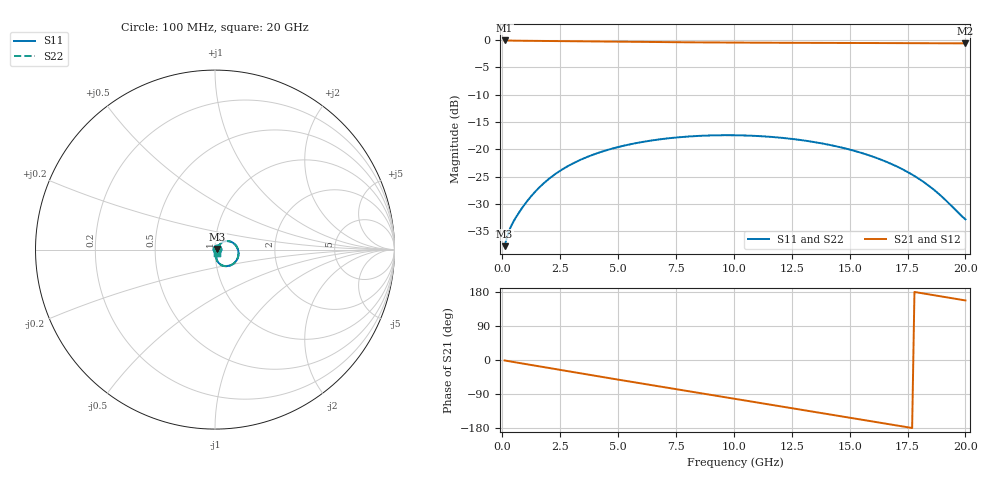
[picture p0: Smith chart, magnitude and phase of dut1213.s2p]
! Touchstone file exported from HFSS 2026.1.0
!  File:  C:/ffzhzh/LocalFiles/Ansys_Project_Files/temp_train_TSV_RDL_1213_1783320197_5512.aedt
!  Generated:  02:49:55 PM Jul  6, 2026
!  Design:  TSV_RDL
!  Project:  temp_train_TSV_RDL_1213_1783320197_5512
! Variables:
!  h_bsmrdl = 4.18um
!  h_ox = 20um
!  h_rdl = 5um
!  h_sub = 63.7um
!  h_tmrdl = 4.74um
!  h_tsv = 63.7um
!  h_via = 3um
!  l_bsmrdl = 279.05um
!  l_sub = 3391.77um
!  l_tmrdl = 506.9um
!  m_sub = 200um
!  pitch = 33.95um
!  r_tsv = 11.03um
!  s_tmrdl = 10um
!  w_bsmrdl = 13.69um
!  w_sub = 500um
!  w_tmrdl = 28.65um
!  x_tsv_center1 = 521.225um
!  x_tsv_center2 = 813.965um
!  x_tsv_center3 = 1349.515um
!  x_tsv_center4 = 1642.255um
!  x_tsv_center5 = 2177.805um
!  x_tsv_center6 = 2470.545um
# GHz S MA R 50.000000
! Terminal data exported
! Port[1] = TM_RDL1_1_T1
! Port[2] = TM_RDL5_1_T1
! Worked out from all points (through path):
!   200 points, 100 MHz to 20 GHz, reference 50 ohm
!   highest |S21| = -0.11 dB at 100 MHz (marker M1); lowest = -0.6 dB at 20 GHz (marker M2)
!   group delay of S21, straight-line fit = 28 ps
!   lowest |S11| = -37.7 dB at 100 MHz (marker M3), VSWR 1.03, Z = 51.2 + j0.431 ohm
!   |S11| at or under -10 dB: start of sweep to end of sweep
!   |S22| runs from -37.7 to -17.4 dB; largest |S21 - S12| = 1.7e-14
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0.1  0.01305 18.8  0.9877 -1.2  0.9877 -1.2  0.01305 18.8
! Gamma 0 0 0 0
! Port Impedance 50 0 50 0
0.2  0.01576 27.8  0.9864 -2.3  0.9864 -2.3  0.01576 27.8
0.3  0.0182 32.1  0.9851 -3.3  0.9851 -3.3  0.0182 32.1
0.5  0.02223 37.6  0.9833 -5.4  0.9833 -5.4  0.02224 37.6
0.9  0.03006 44.4  0.9814 -9.6  0.9814 -9.6  0.03007 44.4
1.4  0.04063 47.2  0.9796 -14.8  0.9796 -14.8  0.04063 47.2
1.8  0.04923 46.7  0.9781 -18.9  0.9781 -18.9  0.04924 46.7
2.3  0.05972 44.4  0.9758 -24.1  0.9758 -24.1  0.05973 44.3
3.5  0.08242 35.4  0.9697 -36.5  0.9697 -36.5  0.08244 35.3
5.2  0.1074 20.4  0.9611 -53.8  0.9611 -53.8  0.1075 20.3
6.8  0.1235 6.0  0.9541 -69.9  0.9541 -69.9  0.1235 5.9
8.4  0.1324 -8.2  0.9487 -85.9  0.9487 -85.9  0.1325 -8.4
9.2  0.1344 -15.3  0.9464 -94.0  0.9464 -94.0  0.1344 -15.4
10.1  0.1345 -23.2  0.9442 -103.0  0.9442 -103.0  0.1346 -23.3
11.7  0.1295 -37.0  0.9411 -119.0  0.9411 -119.0  0.1296 -37.2
13.4  0.1173 -51.2  0.9386 -136.1  0.9386 -136.1  0.1173 -51.4
15.1  0.0983 -64.5  0.9364 -153.2  0.9364 -153.2  0.09835 -64.8
16.7  0.07521 -75.2  0.9344 -169.3  0.9344 -169.3  0.07521 -75.6
17.6  0.0605 -79.4  0.9332 -178.5  0.9332 -178.5  0.06045 -79.9
18.4  0.04685 -80.5  0.932 173.4  0.932 173.4  0.04675 -81.1
19  0.03674 -77.9  0.931 167.3  0.931 167.3  0.03657 -78.6
20  0.02297 -57.2  0.9291 157.2  0.9291 157.2  0.02262 -57.9
